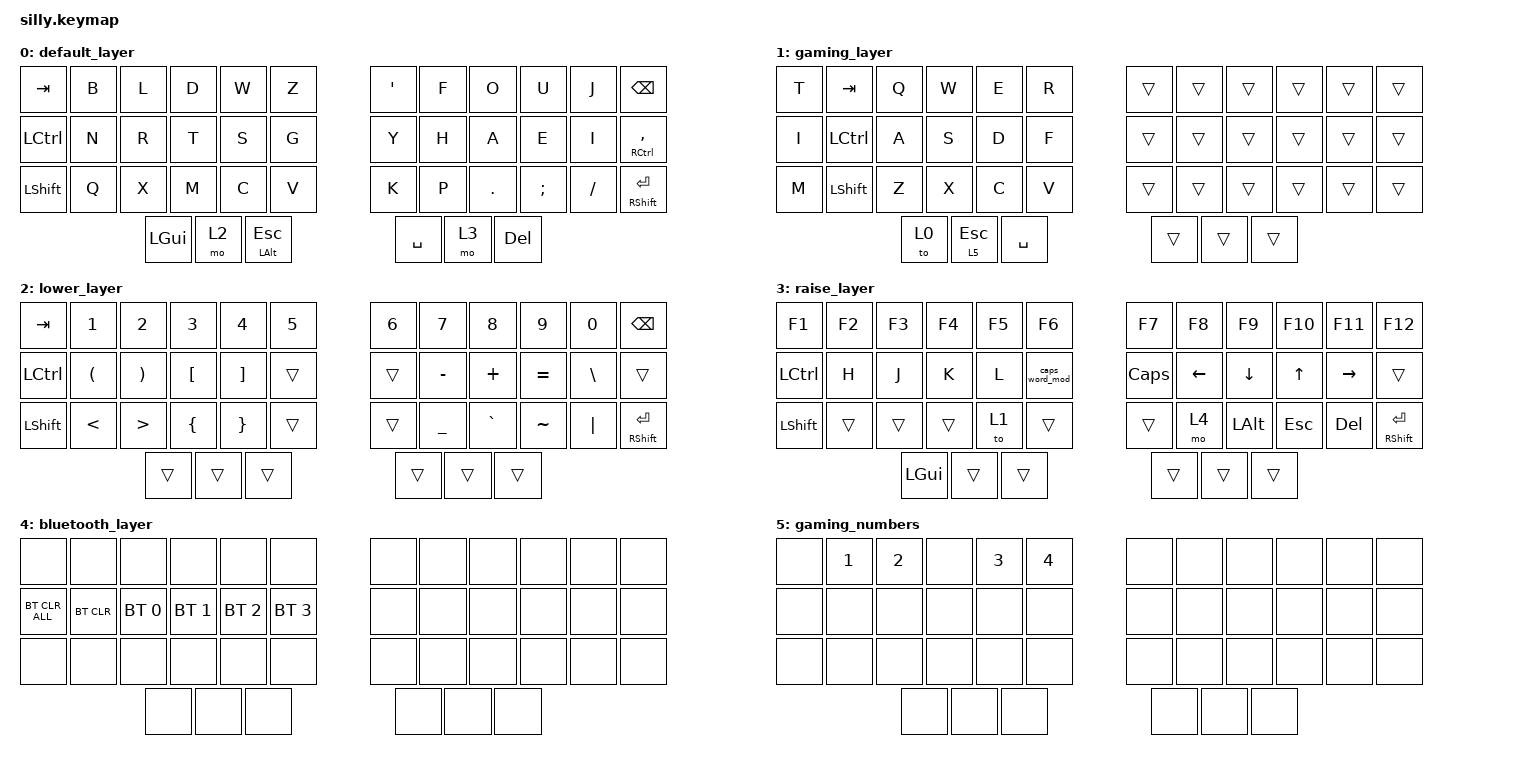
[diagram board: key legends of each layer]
#include <behaviors.dtsi>
#include <dt-bindings/zmk/keys.h>
#include <dt-bindings/zmk/bt.h>

/ {
    behaviors {
        caps_word_mod: caps_word_mod {
            compatible = "zmk,behavior-caps-word";
            #binding-cells = <0>;
            continue-list = <UNDERSCORE MINUS BSPC DEL>;
        };
    };

    keymap {
        compatible = "zmk,keymap";

        default_layer {
            bindings = <
   &kp TAB   &kp B    &kp L    &kp D    &kp W    &kp Z       &kp SQT  &kp F    &kp O    &kp U    &kp J    &kp BSPC
   &kp LCTRL &kp N    &kp R    &kp T    &kp S    &kp G       &kp Y    &kp H    &kp A    &kp E    &kp I    &mt RCTRL COMMA
   &kp LSHFT &kp Q    &kp X    &kp M    &kp C    &kp V       &kp K    &kp P    &kp DOT  &kp SEMI &kp FSLH &mt RSHFT RET
                            &kp LGUI &mo 2 &mt LALT ESC      &kp SPACE &mo 3  &kp DEL
            >;
        };

        gaming_layer {
            bindings = <
   &kp T     &kp TAB  &kp Q    &kp W    &kp E    &kp R       &trans   &trans   &trans   &trans   &trans   &trans
   &kp I     &kp LCTRL &kp A   &kp S    &kp D    &kp F       &trans   &trans   &trans   &trans   &trans   &trans
   &kp M     &kp LSHFT &kp Z   &kp X    &kp C    &kp V       &trans   &trans   &trans   &trans   &trans   &trans
                               &to 0   &lt 5 ESC &kp SPACE   &trans   &trans   &trans
            >;
        };

        lower_layer {
            bindings = <
   &kp TAB   &kp N1   &kp N2   &kp N3   &kp N4   &kp N5      &kp N6   &kp N7   &kp N8   &kp N9   &kp N0   &kp BSPC
   &kp LCTRL &kp LPAR &kp RPAR &kp LBKT &kp RBKT &trans      &trans   &kp MINUS &kp PLUS &kp EQUAL &kp BSLH &trans
   &kp LSHFT &kp LT   &kp GT   &kp LBRC &kp RBRC &trans      &trans   &kp UNDER &kp GRAVE &kp TILDE &kp PIPE &mt RSHFT RET
                              &trans   &trans   &trans       &trans   &trans    &trans
            >;
        };

        raise_layer {
            bindings = <
   &kp F1    &kp F2     &kp F3       &kp F4       &kp F5       &kp F6              &kp F7     &kp F8    &kp F9   &kp F10  &kp F11   &kp F12
   &kp LCTRL &kp H      &kp J        &kp K        &kp L        &caps_word_mod      &kp CAPS   &kp LEFT  &kp DOWN &kp UP   &kp RIGHT &trans
   &kp LSHFT &trans     &trans       &trans       &to 1       &trans              &trans     &mo 4 &kp LALT &kp ESC  &kp DEL   &mt RSHFT RET
                                     &kp LGUI   &trans    &trans                    &trans   &trans   &trans
            >;
        };

        bluetooth_layer {
                    bindings = <
          &none &none &none &none &none &none    &none &none &none &none &none &none
          &bt BT_CLR_ALL &bt BT_CLR &bt BT_SEL 0 &bt BT_SEL 1 &bt BT_SEL 2 &bt BT_SEL 3      &none &none &none &none &none &none
          &none &none  &none  &none &none  &none     &none &none &none &none &none &none
                              &none &none  &none     &none &none &none
                    >;
                };


        gaming_numbers {
            bindings = <
   &none &kp N1 &kp N2 &none &kp N3 &kp N4    &none &none &none &none &none &none
   &none &none  &none  &none &none  &none     &none &none &none &none &none &none
   &none &none  &none  &none &none  &none     &none &none &none &none &none &none
                       &none &none  &none     &none &none &none
            >;
        };
    };
};
